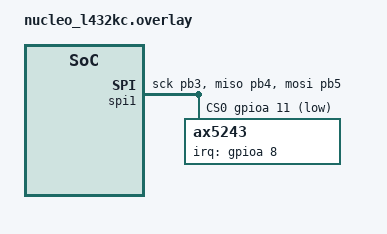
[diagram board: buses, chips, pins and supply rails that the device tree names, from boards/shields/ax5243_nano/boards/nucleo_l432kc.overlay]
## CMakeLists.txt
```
cmake_minimum_required(VERSION 3.13.1)

set(BOARD_ROOT "${CMAKE_CURRENT_SOURCE_DIR}")
set(BOARD nucleo_l432kc)
set(SHIELD ax5243_nano)

find_package(Zephyr REQUIRED HINTS "${CMAKE_CURRENT_SOURCE_DIR}/../zephyr")

project(ax5243_test)

target_sources(app PRIVATE
  src/main.c
  src/ax5x43.c)
```

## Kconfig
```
menu "Application settings"

config AX5X43_NET_BUF_COUNT
	int "Number of network buffers for AX5X43"
	default 2
	help
	  Number of network buffers for use with AX5X43.
	  These buffers are shared between all the devices.

config AX5X43_INIT_PRIORITY
	int "AX5X43 init priority"
	default 75
	help
	  Device initialization priority

module = AX5X43
module-str = ax5x43
source "subsys/logging/Kconfig.template.log_config"

endmenu

source "Kconfig.zephyr"
```

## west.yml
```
manifest:
  remotes:
    - name: zephyrproject-rtos
      url-base: https://github.com/zephyrproject-rtos
  projects:
    - name: zephyr
      remote: zephyrproject-rtos
      revision: v2.7.2
      import: true
  self:
    path: application
```

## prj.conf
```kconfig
CONFIG_SPI=y
CONFIG_NET_BUF=y
CONFIG_NET_BUF_USER_DATA_SIZE=16
CONFIG_SETTINGS=y
CONFIG_NVS=y
CONFIG_FLASH=y
CONFIG_FLASH_MAP=y

CONFIG_SHELL=y
CONFIG_LOG=y
CONFIG_REBOOT=y

CONFIG_AX5X43_LOG_LEVEL_INF=y
```

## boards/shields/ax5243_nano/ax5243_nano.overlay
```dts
/* See the board-specific overlay files. */
```

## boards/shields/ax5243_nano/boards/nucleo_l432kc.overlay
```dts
&spi1 {
	status = "okay";
	pinctrl-0 = <&spi1_sck_pb3 &spi1_miso_pb4 &spi1_mosi_pb5>;
	cs-gpios = <&gpioa 11 GPIO_ACTIVE_LOW>;

	ax5243: ax5243@0 {
		reg = <0>;
		irq-gpios = <&gpioa 8 (GPIO_PULL_DOWN | GPIO_ACTIVE_HIGH)>;
	};
};

#include "ax5243_nano_common.dtsi"
```

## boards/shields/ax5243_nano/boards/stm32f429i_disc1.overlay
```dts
&spi4 {
	status = "okay";
	pinctrl-0 = <&spi4_sck_pe2 &spi4_miso_pe5 &spi4_mosi_pe6>;
	cs-gpios = <&gpioe 4 GPIO_ACTIVE_LOW>;

	ax5243: ax5243@0 {
		reg = <0>;
		irq-gpios = <&gpioe 3 (GPIO_PULL_DOWN | GPIO_ACTIVE_HIGH)>;
	};
};

&flash0 {
	partitions {
		compatible = "fixed-partitions";
		#address-cells = <1>;
		#size-cells = <1>;

		/*
		 * Reserve 32 KiB for file system partition
		 */
		storage_partition: partition@108000 {
			label = "storage";
			reg = <0x108000 0x8000>;
		};
	};
};

#include "ax5243_nano_common.dtsi"
```

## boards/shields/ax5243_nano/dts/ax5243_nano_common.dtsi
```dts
&ax5243 {
	compatible = "onnn,ax5x43";
	label = "AX5243";
	spi-max-frequency = <10000000>;

	channel-id = <0>;
	clock-frequency = <26000000>;
	carrier-frequency = <161975000>; // 162025000
	bitrate = <9600>;
	clock-source = "oscillator";
};
```

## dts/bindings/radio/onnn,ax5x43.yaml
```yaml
#
# Copyright (c) 2020 Ievgenii Meshcheriakov
#
# SPDX-License-Identifier: Apache-2.0
#

description: >
    This is a representation of the ON Semiconuctor AX5043 and AX5243 radio
    receivers.

compatible: "onnn,ax5x43"

include: [spi-device.yaml]

properties:
    irq-gpios:
      type: phandle-array
      required: true

    channel-id:
      type: int
      required: true
      description: Channel ID.

    clock-frequency:
      type: int
      required: true
      description: Clock frequency in Hz.

    carrier-frequency:
      type: int
      required: true
      description: Carrier frequency in Hz.

    bitrate:
      type: int
      required: true
      description: Bitrate in Hz.

    clock-source:
      type: string
      required: true
      enum:
        - crystal
        - oscillator
```

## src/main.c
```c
#include <zephyr.h>
#include <devicetree.h>
#include <inttypes.h>
#include <string.h>
#include <stdio.h>
#include <sys/byteorder.h>
#include <settings/settings.h>
#include <shell/shell.h>
#include <stdlib.h>

#include "ax5x43.h"

static const struct device *get_ax5x43_device(void)
{
	const struct device *dev = DEVICE_DT_GET_ANY(onnn_ax5x43);

	if (dev == NULL) {
		printk("Error: No device found.\n");
		return NULL;
	}

	if (!device_is_ready(dev)) {
		printk("Error: Device \"%s\" is not ready.\n", dev->name);
		return NULL;
	}

	printk("Found device \"%s\".\n", dev->name);

	return dev;
}

#define NMEA_MAX_LENGTH 82
#define AIVDM_OVERHEAD (strlen("!AIVDM,0,0,0,A,,0,*00\r\n"))
// Note: this is the limit for multipart messages, it is one greater for single
// part.
#define MAX_SENTENCE_CHARS (NMEA_MAX_LENGTH - AIVDM_OVERHEAD)

static char nmea_buffer[NMEA_MAX_LENGTH + 1];
static uint8_t multipart_counter;

static char get_ascii6(const uint8_t *buf, uint16_t bit_offset)
{
	uint16_t byte_idx = bit_offset / 8;
	uint16_t bit_idx = bit_offset % 8;
	uint8_t n;

	if (bit_idx <= 2) {
		n = (buf[byte_idx] >> (2 - bit_idx)) & 0x3f;
	} else {
		n = ((buf[byte_idx] << (bit_idx - 2)) & 0x3f) |
		    (buf[byte_idx + 1] >> (10 - bit_idx));
	}

	__ASSERT_NO_MSG(n < 64);

	return (n >= 40) ? n + 56 : n + 48;
}

static void format_metadata(const struct ax5x43_user_data *data)
{
	char *p = nmea_buffer;
	*p++ = '\\';
	p += sprintf(p, "r:%" PRIu64 ",", data->timestamp);
	p += sprintf(p, "S:%" PRId8 ",", data->rssi);
	p += sprintf(p, "F:%" PRId32 ",", data->rf_freq_offs);
	p += sprintf(p, "T:%" PRIu32, data->timer);

	/* Calculate the checksum. */
	uint8_t sum = 0;

	for (const char *q = nmea_buffer + 1; q < p; q++) {
		sum ^= *q;
	}

	/* Add the checksum and the line end. */
	p += sprintf(p, "*%02X\\", sum);

	// TODO ensure that this is also true for the longest string.
	__ASSERT(PART_OF_ARRAY(nmea_buffer, p), "nmea_buffer overlow");

	// tty_write(&tty, nmea_buffer, p - nmea_buffer);
	printk("%s", nmea_buffer);
}

static void format_aivdm(uint8_t channel_id, const uint8_t *buf, size_t len)
{
	uint16_t num_chars = ceiling_fraction(len * 8, 6);

	bool multipart = num_chars > MAX_SENTENCE_CHARS + 1;
	uint8_t num_parts =
	        multipart ? ceiling_fraction(num_chars, MAX_SENTENCE_CHARS) : 1;
	//LOG_DBG("len: %zu, chars: %u, parts: %u", len, num_chars, num_parts);

	char channel = 'A' + channel_id;
	uint16_t bit_offset = 0;
	uint16_t remaining_chars = num_chars;

	for (uint8_t part = 1; part <= num_parts; part++) {
		char *p = nmea_buffer;

		/* Put header. */
		if (multipart) {
			p += sprintf(p, "!AIVDM,%u,%u,%u,%c,", num_parts, part,
			             multipart_counter, channel);
		} else {
			p += sprintf(p, "!AIVDM,1,1,,%c,", channel);
		}

		/* Put the data. */
		uint16_t part_chars = remaining_chars;
		if (multipart && remaining_chars > MAX_SENTENCE_CHARS) {
			part_chars = MAX_SENTENCE_CHARS;
		}

		//LOG_DBG("part: %u, chars: %u", part, part_chars);

		for (int i = 0; i < part_chars; i++) {
			*p++ = get_ascii6(buf, bit_offset);
			bit_offset += 6;
		}

		remaining_chars -= part_chars;

		/* Add pad info */
		uint8_t pad = 0;

		if (part == num_parts) {
			__ASSERT_NO_MSG(num_chars * 6 >= len * 8);
			pad = num_chars * 6 - len * 8;
		}

		p += sprintf(p, ",%u", pad);

		/* Calculate the checksum. */
		uint8_t sum = 0;

		for (const char *q = nmea_buffer + 1; q < p; q++) {
			sum ^= *q;
		}

		/* Add the checksum and the line end. */
		p += sprintf(p, "*%02X\r\n", sum);

		__ASSERT(PART_OF_ARRAY(nmea_buffer, p), "nmea_buffer overlow");

		// tty_write(&tty, nmea_buffer, p - nmea_buffer);
		printk("%s", nmea_buffer);
	}

	if (multipart) {
		multipart_counter++;
		if (multipart_counter > 9) {
			multipart_counter = 0;
		}
	}
}

K_FIFO_DEFINE(rx_fifo);

static void recv_cb(const struct device *dev, struct net_buf *buf)
{
	ARG_UNUSED(dev);
	net_buf_put(&rx_fifo, buf);
}

static int main_rx(const struct device *dev)
{
	ax5x43_set_callback(dev, recv_cb);

	int ret = ax5x43_start_rx(dev);
	if (ret < 0) {
		printk("Failed to start RX mode: %d\n", ret);
		return 2;
	}

	while (1) {
		struct net_buf *buf = net_buf_get(&rx_fifo, K_FOREVER);
		const struct ax5x43_user_data *meta = net_buf_user_data(buf);
		format_metadata(meta);
		format_aivdm(meta->channel_id, buf->data, buf->len);
		net_buf_unref(buf);
	}
}

static int main_tx(const struct device *dev)
{
	int ret = ax5x43_start_tx(dev);
	if (ret < 0) {
		printk("Failed to start TX mode: %d\n", ret);
		return 2;
	}

	k_sleep(K_MSEC(1000));

	uint8_t seq_no = 0;

	while (1) {
		// Single Slot Binary Message
		uint8_t data[] = {
			25 << 2, 0, 0, 0, 0, 0, 0, 0, 0, 0, 0, 0, 0, 0,
		};

		uint16_t timestamp = k_uptime_get();
		data[13] = seq_no++;
		sys_put_be64(timestamp, data + 5);

		ret = ax5x43_send_packet(dev, data, sizeof(data));
		if (ret < 0) {
			printk("Failed to send packet: %d\n", ret);
			return 3;
		}

		printk(".");

		k_sleep(K_MSEC(1000));
	}
}

#define MODE_RX 1
#define MODE_TX 0x10fb87d9

static uint32_t op_mode;

static int ais_settings_set(const char *name, size_t len,
                            settings_read_cb read_cb, void *cb_arg)
{
	const char *next;
	int rc;

	if (settings_name_steq(name, "mode", &next) && !next) {
		if (len != sizeof(op_mode)) {
			return -EINVAL;
		}

		rc = read_cb(cb_arg, &op_mode, sizeof(op_mode));
		if (rc >= 0) {
			return 0;
		}

		return rc;
	}

	return -ENOENT;
}

static struct settings_handler ais_conf = {
	.name = "ais",
	.h_set = ais_settings_set,
};

static int cmd_mode(const struct shell *shell, size_t argc, char **argv)
{
	if (argc < 2) {
		shell_print(shell, "Current mode: %lu", op_mode);
		return 1;
	}

	uint32_t new_mode = strtoul(argv[1], NULL, 0);
	shell_print(shell, "Setting mode to: %lu", new_mode);
	int ret = settings_save_one("ais/mode", &new_mode, sizeof(new_mode));
	if (ret < 0) {
		shell_error(shell, "Error: %d", ret);
	}
	return 0;
}

SHELL_CMD_ARG_REGISTER(mode, NULL, "Set AIS operating mode", cmd_mode, 1, 1);

int main(void)
{
	settings_subsys_init();
	settings_register(&ais_conf);
	settings_load();

	const struct device *dev = get_ax5x43_device();
	if (dev == NULL) {
		return 1;
	}

	if (op_mode == MODE_RX) {
		return main_rx(dev);
	} else if (op_mode == MODE_TX) {
		return main_tx(dev);
	}

	return 0;
}
```

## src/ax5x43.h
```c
/*
 * Copyright (c) 2021 Ievgenii Meshcheriakov.
 *
 * SPDX-License-Identifier: Apache-2.0
 */

#ifndef APPLICATION_SRC_AX5X43_H_
#define APPLICATION_SRC_AX5X43_H_

#include <kernel.h>
#include <drivers/spi.h>
#include <drivers/gpio.h>
#include <net/buf.h>

#ifdef __cplusplus
extern "C" {
#endif

#define AX5X43_SPI_OPERATION                                       \
	(SPI_OP_MODE_MASTER | SPI_TRANSFER_MSB | SPI_WORD_SET(8) | \
	 SPI_LINES_SINGLE)

enum ax5x43_clock_source {
	AX5X43_CRYSTAL,
	AX5X43_OSCILLATOR,
};

struct ax5x43_config {
	const struct device *bus;
	struct spi_config bus_cfg;
	struct gpio_dt_spec irq;
	uint32_t clock_freq;
	uint32_t carrier_freq;
	uint16_t bitrate;
	uint8_t clock_source;
	uint8_t xtaldiv;
	uint8_t channel_id;
};

struct ax5x43_user_data {
	uint8_t channel_id : 5;
	uint8_t pad_bits : 3;
	int8_t rssi;
	int32_t rf_freq_offs : 24;
	uint32_t timer : 24;
	int64_t timestamp;
} __packed;

enum ax5x43_rx_state {
	/** Initial state. */
	AX5X43_RX_STATE_INITIAL = 0,
	/** Timer packet received. */
	AX5X43_RX_STATE_TIMER,
	/** Data packet received. */
	AX5X43_RX_STATE_DATA,
	/** Final data packet received. */
	AX5X43_RX_STATE_DATA_END,
	/** RSSI packet received. */
	AX5X43_RX_STATE_RSSI,
};

typedef void (*ax5x43_recv_callback)(const struct device *dev,
                                     struct net_buf *buf);

struct ax5x43_drv_data {
	/* Backlink to ease handling of GPIO interrupts. */
	const struct device *dev;
	struct gpio_callback irq_callback_sem;
	struct gpio_callback irq_callback_wq;
	struct k_sem irq_sem;
	struct k_work work;

	enum ax5x43_rx_state rx_state;
	struct net_buf *buf;
	ax5x43_recv_callback recv_cb;
};

/* Maximum message size in bytes, this includes CRC.
 * This should be enough for any AIS message. */
#define AX5X43_MAX_MSG_SIZE 160

void ax5x43_set_callback(const struct device *dev, ax5x43_recv_callback cb);

int ax5x43_start_rx(const struct device *dev);
int ax5x43_start_tx(const struct device *dev);
int ax5x43_send_packet(const struct device *dev, const uint8_t *buf,
                       size_t size);

#ifdef __cplusplus
}
#endif

#endif
```

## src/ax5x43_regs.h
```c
/*
 * Copyright (c) 2021 Ievgenii Meshcheriakov.
 *
 * SPDX-License-Identifier: Apache-2.0
 */

#ifndef APPLICATION_SRC_AX5X43_REGS_H_
#define APPLICATION_SRC_AX5X43_REGS_H_
#include <sys/util.h>

/* SPI Status Bits. */
#define AX5X43_STATUS_POWERED       BIT(15)
#define AX5X43_STAT_PLL_LOCK        BIT(14)
#define AX5X43_STAT_FIFO_OVER       BIT(13)
#define AX5X43_STAT_FIFO_UNDER      BIT(12)
#define AX5X43_STAT_THRES_FREE      BIT(11)
#define AX5X43_STAT_THRES_COUNT     BIT(10)
#define AX5X43_STAT_FIFO_FULL       BIT(9)
#define AX5X43_STAT_FIFO_EMPTY      BIT(8)
#define AX5X43_STAT_PWRGOOD         BIT(7)
#define AX5X43_STAT_PWR_INT_PEND    BIT(6)
#define AX5X43_STAT_RADIO_EVT_PEND  BIT(5)
#define AX5X43_STAT_XTAL_OSC_RUNN   BIT(4)
#define AX5X43_STAT_WAKEUP_INT_PEND BIT(3)
#define AX5X43_STAT_LPOSC_INT_PEND  BIT(2)
#define AX5X43_STAT_GPADC_INT_PEND  BIT(1)

/* FIFO Chunk Types */
#define AX5X43_CHUNK_NOP           0x00
#define AX5X43_CHUNK_RSSI          0x31
#define AX5X43_CHUNK_TXCTRL        0x3C
#define AX5X43_CHUNK_FREQOFFS      0x52
#define AX5X43_CHUNK_ANTRSSI2      0x55
#define AX5X43_CHUNK_REPEATDATA    0x62
#define AX5X43_CHUNK_TIMER         0x70
#define AX5X43_CHUNK_RFFREQOFFS    0x73
#define AX5X43_CHUNK_DATARATE      0x74
#define AX5X43_CHUNK_ANTRSSI3      0x75
#define AX5X43_CHUNK_DATA          0xE1
#define AX5X43_CHUNK_TXPWR         0xFD

#define AX5X43_REPEATDATA_PKTSTART BIT(0)
#define AX5X43_REPEATDATA_PKTEND   BIT(1)
#define AX5X43_REPEATDATA_RESIDUE  BIT(2)
#define AX5X43_REPEATDATA_NOCRC    BIT(3)
#define AX5X43_REPEATDATA_RAW      BIT(4)
#define AX5X43_REPEATDATA_UNENC    BIT(5)

#define AX5X43_DATA_PKTSTART       BIT(0)
#define AX5X43_DATA_PKTEND         BIT(1)
#define AX5X43_DATA_RESIDUE        BIT(2)
#define AX5X43_DATA_NOCRC          BIT(3)
#define AX5X43_DATA_RAW            BIT(4)
#define AX5X43_DATA_UNENC          BIT(5)

/* Interrupt request indices */
#define AX5X43_IRQ_FIFONOTEMPTY    BIT(0)
#define AX5X43_IRQ_FIFONOTFULL     BIT(1)
#define AX5X43_IRQ_FIFOTHRCNT      BIT(2)
#define AX5X43_IRQ_FIFOTHRFREE     BIT(3)
#define AX5X43_IRQ_FIFOERROR       BIT(4)
#define AX5X43_IRQ_PLLUNLOCK       BIT(5)
#define AX5X43_IRQ_RADIOCTRL       BIT(6)
#define AX5X43_IRQ_POWER           BIT(7)
#define AX5X43_IRQ_XTALREADY       BIT(8)
#define AX5X43_IRQ_WAKEUPTIMER     BIT(9)
#define AX5X43_IRQ_LPOSC           BIT(10)
#define AX5X43_IRQ_GPADC           BIT(11)
#define AX5X43_IRQ_PLLRNGDONE      BIT(12)

/** Last register that can be accessed using short address. */
#define AX5X43_LAST_DYN_REG        0x06F

/* Revision & Interface Probing */
#define AX5X43_REG_REVISION        0x000 /* Silicon Revision */
#define AX5X43_REG_SCRATCH         0x001 /* Scratch Register */

/* Operating Mode */
#define AX5X43_REG_PWRMODE         0x002 /* Power Mode */

/* Voltage Regulator */
#define AX5X43_REG_POWSTAT         0x003 /* Power Management Status */
#define AX5X43_REG_POWSTICKYSTAT   0x004 /* Power Management Sticky Status */
#define AX5X43_REG_POWIRQMASK      0x005 /* Power Management Interrupt Mask */

/* Interrupt Control */
#define AX5X43_REG_IRQMASK         0x006 /* IRQ Mask */
#define AX5X43_REG_RADIOEVENTMASK  0x008 /* Radio Event Mask */
#define AX5X43_REG_IRQINVERSION    0x00A /* IRQ Inversion */
#define AX5X43_REG_IRQREQUEST      0x00C /* IRQ Request */
#define AX5X43_REG_RADIOEVENTREQ   0x00E /* Radio Event Request */

/* Modulation & Framing */
#define AX5X43_REG_MODULATION      0x010 /* Modulation */
#define AX5X43_REG_ENCODING        0x011 /* Encoder/Decoder Settings */
#define AX5X43_REG_FRAMING         0x012 /* Framing Settings */
#define AX5X43_REG_CRCINIT         0x013 /* CRC Initialization Data */

/* Forward Error Correction */
#define AX5X43_REG_FEC             0x018 /* FEC (Viterbi) Configuration */
#define AX5X43_REG_FECSYNC         0x019 /* Interleaver Synchronization Threshold */
#define AX5X43_REG_FECSTATUS       0x01A /* FEC Status */

/* Status */
#define AX5X43_REG_RADIOSTATE      0x01C /* Radio Controller State */
#define AX5X43_REG_XTALSTATUS      0x01D /* Crystal Oscillator Status */

/* Pin Configuration */
#define AX5X43_REG_PINSTATE        0x020 /* Pin State */
#define AX5X43_REG_PINFUNCSYSCLK   0x021 /* SYSCLK Pin Function */
#define AX5X43_REG_PINFUNCDCLK     0x022 /* DCLK Pin Function */
#define AX5X43_REG_PINFUNCDATA     0x023 /* DATA Pin Function */
#define AX5X43_REG_PINFUNCIRQ      0x024 /* IRQ Pin Function */
#define AX5X43_REG_PINFUNCTCXO_EN  0x026 /* TCXO_EN Pin Function */
#define AX5X43_REG_PWRAMP          0x027 /* PWRAMP Control */

/* FIFO */
#define AX5X43_REG_FIFOSTAT        0x028 /* FIFO Control */
#define AX5X43_REG_FIFODATA        0x029 /* FIFO Data */
#define AX5X43_REG_FIFOCOUNT       0x02A /* Number of Words currently in FIFO */
#define AX5X43_REG_FIFOFREE        0x02C /* Number of Words that can be written to FIFO */
#define AX5X43_REG_FIFOTHRESH      0x02F /* FIFO Threshold */

/* Synthesizer */
#define AX5X43_REG_PLLLOOP         0x030 /* PLL Loop Filter Settings */
#define AX5X43_REG_PLLCPI          0x031 /* PLL Charge Pump Current (Boosted) */
#define AX5X43_REG_PLLVCODIV       0x032 /* PLL Divider Settings */
#define AX5X43_REG_PLLRANGINGA     0x033 /* PLL Autoraging */
#define AX5X43_REG_FREQA           0x034 /* Synthesizer Frequency */
#define AX5X43_REG_PLLLOOPBOOST    0x038 /* PLL Loop Filter Settings (Boosted) */
#define AX5X43_REG_PLLCPIBOOST     0x039 /* PLL Charge Pump Current */
#define AX5X43_REG_PLLRANGINGB     0x03B /* PLL Autoranging */
#define AX5X43_REG_FREQB           0x03C /* Synthesizer Frequency */

/* Signal Strenght */
#define AX5X43_REG_RSSI            0x040 /* Received Signal Strength Indicator */
#define AX5X43_REG_BGNDRSSI        0x041 /* Background RSSI */
#define AX5X43_REG_DIVERSITY       0x042 /* Antenna Diversity Configuration */
#define AX5X43_REG_AGCCOUNTER      0x043 /* AGC Current Value */

/* Receiver Tracking */
#define AX5X43_REG_TRKDATARATE     0x045 /* Datarate Tracking */
#define AX5X43_REG_TRKAMPL         0x048 /* Amplitude Tracking */
#define AX5X43_REG_TRKPHASE        0x04A /* Phase Tracking */
#define AX5X43_REG_TRKRFFREQ       0x04D /* RF Frequency Tracking */
#define AX5X43_REG_TRKFREQ         0x050 /* Frequency Tracking */
#define AX5X43_REG_TRKFSKDEMOD     0x052 /* FSK Demodulator Tracking */
#define AX5X43_REG_TRKAFSKDEMOD    0x054 /* AFSK Demodulator Tracking */

/* Timer */
#define AX5X43_REG_TIMER           0x059 /* 1 MHz Timer */

/* Wakeup Timer */
#define AX5X43_REG_WAKEUPTIMER     0x068 /* Wakeup Timer */
#define AX5X43_REG_WAKEUP          0x06A /* Wakeup Time */
#define AX5X43_REG_WAKEUPFREQ      0x06C /* Wakeup Frequency */
#define AX5X43_REG_WAKEUPXOEARLY   0x06E /* Wakeup Crystal Oscillator Early */

/* Physical Layer Parameters */

/* Receiver Parameters */
#define AX5X43_REG_IFFREQ          0x100 /* 2nd LO / IF Frequency */
#define AX5X43_REG_DECIMATION      0x102 /* Decimation Factor */
#define AX5X43_REG_RXDATARATE      0x103 /* Receiver Datarate */
#define AX5X43_REG_MAXDROFFSET     0x106 /* Maximum Receiver Datarate Offset */
#define AX5X43_REG_MAXRFOFFSET     0x109 /* Maximum Receiver RF Offset */
#define AX5X43_REG_FSKDMAX         0x10C /* Four FSK RX Deviation */
#define AX5X43_REG_FSKDMIN         0x10E /* Four FSK RX Deviation */
#define AX5X43_REG_AFSKSPACE       0x110 /* AFSK Space (0) Frequency */
#define AX5X43_REG_AFSKMARK        0x112 /* AFSK Mark (1) Frequency */
#define AX5X43_REG_AFSKCTRL        0x114 /* AFSK Control */
#define AX5X43_REG_AMPLFILTER      0x115 /* Aplitude Filter */
#define AX5X43_REG_FREQUENCYLEAK   0x116 /* Baseband Frequency Recovery Loop Leakiness */
#define AX5X43_REG_RXPARAMSETS     0x117 /* Receiver Parameter Set Indirection */
#define AX5X43_REG_RXPARAMCURSET   0x118 /* Receiver Current Parameter Set */

/* Receiver Parameter Sets */
#define AX5X43_RX_PARAM_SET0       0x120
#define AX5X43_RX_PARAM_SET1       0x130
#define AX5X43_RX_PARAM_SET2       0x140
#define AX5X43_RX_PARAM_SET3       0x150

/* Receiver Parameter Register Offsets */
#define AX5X43_RX_AGCGAIN          0x000 /* AGC Speed */
#define AX5X43_RX_AGCTARGET        0x001 /* AGC Target */
#define AX5X43_RX_AGCAHYST         0x002 /* AGC Digital Threshold Range */
#define AX5X43_RX_AGCMINMAX        0x003 /* AGC Digital Min/Max Set Points */
#define AX5X43_RX_TIMEGAIN         0x004 /* Timing Gain */
#define AX5X43_RX_DRGAIN           0x005 /* Data Rate Gain */
#define AX5X43_RX_PHASEGAIN        0x006 /* Filter Index, Phase Gain */
#define AX5X43_RX_FREQGAIN         0x007 /* Frequency Gain */
#define AX5X43_RX_AMPLGAIN         0x00B /* Aplitude Gain */
#define AX5X43_RX_FREQDEV          0x00C /* Receiver Frequency Deviation */
#define AX5X43_RX_FOURFSK          0x00E /* Four FSK Control */
#define AX5X43_RX_BBOFFSRES        0x00F /* Baseband Offset Compensation Resitiors */

/* Transmitter Parameters */
#define AX5X43_REG_MODCFGF         0x160 /* Modulator Configuration F */
#define AX5X43_REG_FSKDEV          0x161 /* FSK Frequency Deviation */
#define AX5X43_REG_MODCFGA         0x164 /* Modulator Configuration A */
#define AX5X43_REG_TXRATE          0x165 /* Transmitter Bitrate */
#define AX5X43_REG_TXPWRCOEFFA     0x168 /* Transmitter Predistortio Coefficient A */
#define AX5X43_REG_TXPWRCOEFFB     0x16A /* Transmitter Predistortio Coefficient B */
#define AX5X43_REG_TXPWRCOEFFC     0x16C /* Transmitter Predistortio Coefficient C */
#define AX5X43_REG_TXPWRCOEFFD     0x16E /* Transmitter Predistortio Coefficient D */
#define AX5X43_REG_TXPWRCOEFFE     0x170 /* Transmitter Predistortio Coefficient E */

/* PLL Parameters */
#define AX5X43_REG_PLLVCOI         0x180 /* VCO Current */
#define AX5X43_REG_PLLVCOIR        0x181 /* VCO Current Readback */
#define AX5X43_REG_PLLLOCKDET      0x182 /* PLL Lock Detect Delay */
#define AX5X43_REG_PLLRNGCLK       0x183 /* PLL Ranging Clock */

/* Crystal Oscillator */
#define AX5X43_REG_XTALCAP         0x184 /* Crystal Oscillator Load Capacitance */

/* Baseband */
#define AX5X43_REG_BBTUNE          0x188 /* Baseband Tuning */
#define AX5X43_REG_BBOFFSCAP       0x189 /* Baseband Offset Compensation Capacitors */

/* MAC Layer Parameters */

/* Packet Format */
#define AX5X43_REG_PKTADDRCFG      0x200 /* Packet Address Config */
#define AX5X43_REG_PKTLENCFG       0x201 /* Packet Length Config */
#define AX5X43_REG_PKTLENOFFSET    0x202 /* Packet Length Offset */
#define AX5X43_REG_PKTMAXLEN       0x203 /* Packet Maximum Length */
#define AX5X43_REG_PKTADDR         0x204 /* Packet Address */
#define AX5X43_REG_PKTADDRMASK     0x208 /* Packet Address Mask */

/* Pattern Match */
#define AX5X43_REG_MATCH0PAT       0x210 /* Pattern Match Unit 0, Pattern */
#define AX5X43_REG_MATCH0LEN       0x214 /* Pattern Match Unit 0, Pattern Length */
#define AX5X43_REG_MATCH0MIN       0x215 /* Pattern Match Unit 0, Minimum Match */
#define AX5X43_REG_MATCH0MAX       0x216 /* Pattern Match Unit 0, Maximum Match */
#define AX5X43_REG_MATCH1PAT       0x218 /* Pattern Match Unit 1, Pattern */
#define AX5X43_REG_MATCH1LEN       0x21C /* Pattern Match Unit 1, Pattern Length */
#define AX5X43_REG_MATCH1MIN       0x21D /* Pattern Match Unit 1, Minimum Match */
#define AX5X43_REG_MATCH1MAX       0x21E /* Pattern Match Unit 1, Maximum Match */

/* Packet Controller */
#define AX5X43_REG_TMGTXBOOST      0x220 /* Transmit PLL Boost Time */
#define AX5X43_REG_TMGTXSETTLE     0x221 /* Transmit PLL (post boost) Settling Time */
#define AX5X43_REG_TMGRXBOOST      0x223 /* Receive PLL Boost Time */
#define AX5X43_REG_TMGRXSETTLE     0x224 /* Receive PLL (post boost) Settling Time */
#define AX5X43_REG_TMGRXOFFSACQ    0x225 /* Receive Baseband DC Offset Acquisition Time */
#define AX5X43_REG_TMGRXCOARSEAGC  0x226 /* Receive Coarse AGC Time */
#define AX5X43_REG_TMGRXAGC        0x227 /* Receiver AGC Settling Time */
#define AX5X43_REG_TMGRXRSSI       0x228 /* Receiver RSSI Settling Time */
#define AX5X43_REG_TMGRXPREAMBLE1  0x229 /* Receiver Preamble 1 Timeout */
#define AX5X43_REG_TMGRXPREAMBLE2  0x22A /* Receiver Preamble 2 Timeout */
#define AX5X43_REG_TMGRXPREAMBLE3  0x22B /* Receiver Preamble 3 Timeout */
#define AX5X43_REG_RSSIREFERENCE   0x22C /* RSSI Offset */
#define AX5X43_REG_RSSIABSTHR      0x22D /* RSSI Absolute Threshold */
#define AX5X43_REG_BGNDRSSIGAIN    0x22E /* Background RSSI Averaging Time Constant */
#define AX5X43_REG_BGNDRSSITHR     0x22F /* Background RSSI Relative Threshold */
#define AX5X43_REG_PKTCHUNKSIZE    0x230 /* Packet Chunk Size */
#define AX5X43_REG_PKTMISCFLAGS    0x231 /* Packet Controller Miscellaneous Flags */
#define AX5X43_REG_PKTSTOREFLAGS   0x232 /* Packet Controller Store Flags */
#define AX5X43_REG_PKTACCEPTFLAGS  0x233 /* Packet Controller Accept Flags */

/* Special Functions */

/* General Purpose ADC */
#define AX5X43_REG_GPADCCTRL       0x300 /* General Purpose ADC Control */
#define AX5X43_REG_GPADCPERIOD     0x301 /* GPADC Sampling Period */
#define AX5X43_REG_GPADC13VALUE    0x308 /* GPADC13 Value */

/* Low Power Oscillator Calibration */
#define AX5X43_REG_LPOSCCONFIG     0x310 /* Low Power Oscillator Configuration */
#define AX5X43_REG_LPOSCSTATUS     0x311 /* Low Power Oscillator Status */
#define AX5X43_REG_LPOSCKFILT      0x312 /* Low Power Oscillator Calibration Filter Constant */
#define AX5X43_REG_LPOSCREF        0x314 /* Low Power Oscillator Calibration Reference */
#define AX5X43_REG_LPOSCFREQ       0x317 /* Low Power Oscillator Calibration Frequency */
#define AX5X43_REG_LPOSCPER        0x319 /* Low Power Oscillator Calibration Period */

/* DAC */
#define AX5X43_REG_DACVALUE        0x330 /* DAC Value */
#define AX5X43_REG_DACCONFIG       0x332 /* DAC Configuration */

/* Performance Tuning */
#define AX5X43_REG_XTALOSC         0xF10 /* Ibias */
#define AX5X43_REG_XTALAMP         0xF11 /* Ibias autoreg. */

#define AX5X43_REVISION_VALUE        0x51

#define AX5X43_SCRATCH_VALUE         0xC5

#define AX5X43_PWRMODE_PWRMODE_MASK  BIT_MASK(4)
#define AX5X43_PWRMODE_POWERDOWN     0x0
#define AX5X43_PWRMODE_DEEPSLEEP     0x1
#define AX5X43_PWRMODE_STANDBY       0x5
#define AX5X43_PWRMODE_FIFOON        0x7
#define AX5X43_PWRMODE_SYNTHRX       0x8
#define AX5X43_PWRMODE_FULLRX        0x9
#define AX5X43_PWRMODE_WORRX         0xB
#define AX5X43_PWRMODE_SYNTHTX       0xC
#define AX5X43_PWRMODE_FULLTX        0xD
#define AX5X43_PWRMODE_WDS           BIT(4)
#define AX5X43_PWRMODE_XOEN          BIT(5)
#define AX5X43_PWRMODE_REFEN         BIT(6)
#define AX5X43_PWRMODE_RST           BIT(7)

#define AX5X43_PLLRANGING_RNGSTART   BIT(4)
#define AX5X43_PLLRANGING_RNGERR     BIT(5)
#define AX5X43_PLLRANGING_PLLLOCK    BIT(6)
#define AX5X43_PLLRANGING_STICKYLOCK BIT(7)

#define AX5X43_XTALSTATUS_XTALRUN    BIT(0)

#define AX5X43_MODULATION_MSK        0x7

#define AX5X43_ENCODING_INV          BIT(0)
#define AX4X43_ENCODING_DIFF         BIT(1)
#define AX4X43_ENCODING_SCRAM        BIT(2)
#define AX4X43_ENCODING_MANCH        BIT(3)
#define AX4X43_ENCODING_NOSYNC       BIT(4)

#define AX5X43_FRMMODE_HDLC          (0x2 << 1)
#define AX5X43_CRCMODE_CCITT         (0x1 << 4)
#define AX5X43_CRCMODE_CRC16         (0x2 << 4)

#define AX5X43_ACCPT_RESIDUE         BIT(0)
#define AX5X43_ACCPT_ABRT            BIT(1)
#define AX5X43_ACCPT_CRCF            BIT(2)
#define AX5X43_ACCPT_ADDRF           BIT(3)
#define AX5X43_ACCPT_SZF             BIT(4)
#define AX5X43_ACCPT_LRGP            BIT(5)

#define AX5X43_ST_TIMER              BIT(0)
#define AX5X43_ST_FOFFS              BIT(1)
#define AX5X43_ST_RFOFFS             BIT(2)
#define AX5X43_ST_DR                 BIT(3)
#define AX5X43_ST_RSSI               BIT(4)
#define AX5X43_ST_CRCB               BIT(5)
#define AX5X43_ST_ANT_RSSI           BIT(6)

#define AX5X43_FIFOCMD_NOP           0x00
#define AX5X43_FIFOCMD_COMMIT        0x04

#define AX5X43_PKTCHUNKSIZE_1        0x1
#define AX5X43_PKTCHUNKSIZE_2        0x2
#define AX5X43_PKTCHUNKSIZE_4        0x3
#define AX5X43_PKTCHUNKSIZE_8        0x4
#define AX5X43_PKTCHUNKSIZE_16       0x5
#define AX5X43_PKTCHUNKSIZE_32       0x6
#define AX5X43_PKTCHUNKSIZE_64       0x7
#define AX5X43_PKTCHUNKSIZE_96       0x8
#define AX5X43_PKTCHUNKSIZE_128      0x9
#define AX5X43_PKTCHUNKSIZE_160      0xA
#define AX5X43_PKTCHUNKSIZE_192      0xB
#define AX5X43_PKTCHUNKSIZE_224      0xC
#define AX5X43_PKTCHUNKSIZE_240      0xD

#define AX5X43_FIFOSTAT_EMPTY        BIT(0)
#define AX5X43_FIFOSTAT_FULL         BIT(1)
#define AX5X43_FIFOSTAT_UNDER        BIT(2)
#define AX5X43_FIFOSTAT_OVER         BIT(3)
#define AX5X43_FIFOSTAT_CNT_THR      BIT(4)
#define AX5X43_FIFOSTAT_FREE_THR     BIT(5)
#define AX5X43_FIFOSTAT_AUTO_COMMIT  BIT(7)

#endif
```
